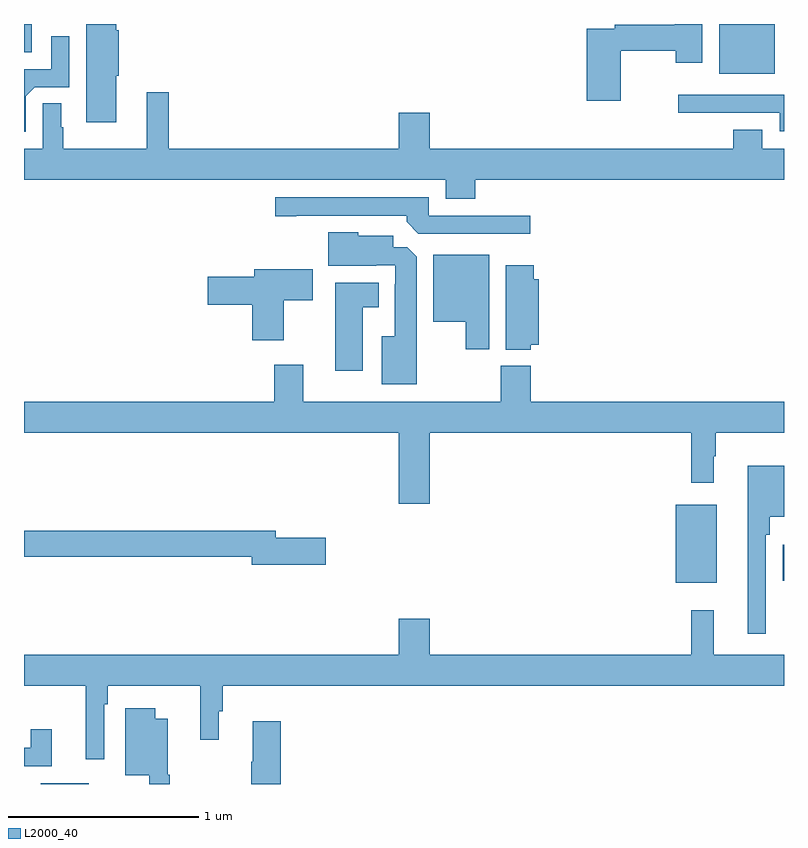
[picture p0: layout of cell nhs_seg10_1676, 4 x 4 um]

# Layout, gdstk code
import gdstk
lib = gdstk.Library(unit=1e-6, precision=1e-09)
def R(c, l, rs):  # rectangles x0, y0, x1, y1
    for r in rs: c.add(gdstk.rectangle(r[:2], r[2:], *l))
def P(c, l, *ps):  # polygons
    for p in ps: c.add(gdstk.Polygon(p, *l))
L2000_40 = (2000, 40)

nhs_seg10_1676 = lib.new_cell('nhs_seg10_1676')
R(nhs_seg10_1676, L2000_40, [(199.088,1266.5,199.342,1266.505), (202.43,1267.559,202.645,1267.969), (202.994,1267.571,203,1267.759), (202.658,1270.238,202.951,1270.5), (199,1270.352,199.042,1270.5)])
P(nhs_seg10_1676, L2000_40, [(202.14,1270.36),(202.429,1270.36),(202.429,1270.296),(202.57,1270.296),(202.57,1270.5),(202.424,1270.5),(202.424,1270.496),(202.108,1270.496),(202.108,1270.476),(201.962,1270.476),(201.962,1270.095),(202.14,1270.095)],
  [(199.486,1270.228),(199.499,1270.228),(199.499,1270.466),(199.486,1270.466),(199.486,1270.5),(199.328,1270.5),(199.328,1269.984),(199.486,1269.984)],
  [(199.008,1270.119),(199.056,1270.167),(199.239,1270.167),(199.239,1270.435),(199.143,1270.435),(199.143,1270.263),(199.002,1270.263),(199,1270.261),(199,1269.933),(199.008,1269.933)],
  [(200.972,1270.033),(200.972,1269.844),(199.763,1269.844),(199.763,1270.141),(199.646,1270.141),(199.646,1269.844),(199.207,1269.844),(199.207,1269.957),(199.195,1269.957),(199.195,1270.082),(199.098,1270.082),(199.098,1269.844),(199,1269.844),(199,1269.68),(201.221,1269.68),(201.221,1269.581),(201.374,1269.581),(201.374,1269.68),(203,1269.68),(203,1269.844),(202.885,1269.844),(202.885,1269.943),(202.733,1269.943),(202.733,1269.844),(201.136,1269.844),(201.136,1270.033)],
  [(203,1270.128),(202.443,1270.128),(202.443,1270.032),(202.977,1270.032),(202.977,1269.936),(203,1269.936)],
  [(201.664,1269.492),(201.129,1269.492),(201.129,1269.588),(200.322,1269.588),(200.322,1269.487),(200.434,1269.487),(200.434,1269.492),(201.014,1269.492),(201.014,1269.458),(201.075,1269.396),(201.664,1269.396)],
  [(201.067,1269.275),(201.018,1269.324),(200.944,1269.324),(200.944,1269.385),(200.76,1269.385),(200.76,1269.403),(200.6,1269.403),(200.6,1269.227),(200.855,1269.227),(200.855,1269.231),(200.955,1269.231),(200.955,1269.131),(200.951,1269.131),(200.951,1268.857),(200.882,1268.857),(200.882,1268.603),(201.067,1268.603)],
  [(201.448,1269.286),(201.155,1269.286),(201.155,1268.933),(201.326,1268.933),(201.326,1268.787),(201.448,1268.787)],
  [(201.666,1268.813),(201.709,1268.813),(201.709,1269.157),(201.683,1269.157),(201.683,1269.229),(201.536,1269.229),(201.536,1268.786),(201.666,1268.786)],
  [(200.368,1269.046),(200.521,1269.046),(200.521,1269.208),(200.213,1269.208),(200.213,1269.17),(199.968,1269.17),(199.968,1269.023),(200.201,1269.023),(200.201,1268.835),(200.368,1268.835)],
  [(200.782,1269.008),(200.866,1269.008),(200.866,1269.139),(200.639,1269.139),(200.639,1268.676),(200.782,1268.676)],
  [(201.136,1268.348),(202.513,1268.348),(202.513,1268.085),(202.63,1268.085),(202.63,1268.225),(202.642,1268.225),(202.642,1268.348),(203,1268.348),(203,1268.512),(201.668,1268.512),(201.668,1268.701),(201.508,1268.701),(201.508,1268.512),(200.47,1268.512),(200.47,1268.707),(200.318,1268.707),(200.318,1268.512),(199,1268.512),(199,1268.348),(200.972,1268.348),(200.972,1267.974),(201.136,1267.974)],
  [(202.905,1267.811),(202.925,1267.811),(202.925,1267.907),(203,1267.907),(203,1268.176),(202.808,1268.176),(202.808,1267.29),(202.905,1267.29)],
  [(200.587,1267.796),(200.326,1267.796),(200.326,1267.832),(199,1267.832),(199,1267.696),(200.198,1267.696),(200.198,1267.654),(200.587,1267.654)],
  [(199.422,1266.92),(199.442,1266.92),(199.442,1267.016),(199.927,1267.016),(199.927,1266.732),(200.026,1266.732),(200.026,1266.882),(200.045,1266.882),(200.045,1267.016),(203,1267.016),(203,1267.18),(202.631,1267.18),(202.631,1267.414),(202.513,1267.414),(202.513,1267.18),(201.136,1267.18),(201.136,1267.369),(200.972,1267.369),(200.972,1267.18),(199,1267.18),(199,1267.016),(199.325,1267.016),(199.325,1266.63),(199.422,1266.63)],
  [(199.768,1266.549),(199.756,1266.549),(199.756,1266.844),(199.69,1266.844),(199.69,1266.898),(199.532,1266.898),(199.532,1266.545),(199.659,1266.545),(199.659,1266.5),(199.768,1266.5)],
  [(200.351,1266.829),(200.204,1266.829),(200.204,1266.616),(200.197,1266.616),(200.197,1266.5),(200.351,1266.5)],
  [(199.145,1266.787),(199.036,1266.787),(199.036,1266.69),(199,1266.69),(199,1266.594),(199.145,1266.594)])

lib.write_gds('nhs_seg10_1676.gds')
